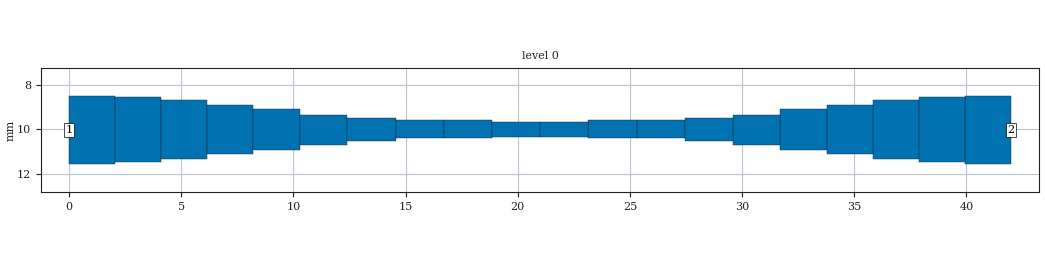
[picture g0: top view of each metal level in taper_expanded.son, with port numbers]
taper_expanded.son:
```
FTYP SONPROJ 19 ! Sonnet Project File
VER 18.53
HEADER
LIC SL68ddf9c7
DAT 12/16/2025 23:11:17
BUILT_BY_CREATED xgeom 18.53-Lite 11/30/2025 18:08:39
BUILT_BY_SAVED sonnet 18.53-Lite
MDATE 12/16/2025 00:15:25
HDATE 12/16/2025 00:15:25
END HEADER
DIM
ANG DEG
CAP PF
CON /OH
FREQ GHZ
IND NH
LNG MM
RES OH
END DIM
CONTROL
VARSWP
OPTIONS  -d
SPEED 0
CACHE_ABS 2
Q_ACC N
END CONTROL
GEO
SYM
TMET "Lossless" 0 SUP 0 0 0 0
BMET "Lossless" 0 SUP 0 0 0 0
BOX 1 42 20 1680 800 20 0
      30 1 1 0 0 0 0 "Substrate"
      1.6 4.4 1 0.02 0 0 0 "FR-4"
TECHLAY METAL Metal1 <UNSPECIFIED> -2 -65534 
1 0 -1 N 440 1 1 100 100 0 0 0 Y
END
END
LORGN 0 20 U 
POR1 BOX
POLY 315 1
3
1 50 0 0 0 -4.440892099e-16 10.025 
POR1 BOX
POLY 421 1
3
2 50 0 0 0 42 10.025 
NUM 20
0 5 -1 N 315 1 1 100 100 0 0 0 Y
-4.440892099e-16 8.5
2.05 8.5
2.05 11.55
-4.440892099e-16 11.55
-4.440892099e-16 8.5
END
0 5 -1 N 316 1 1 100 100 0 0 0 Y
2.05 8.55
4.1 8.55
4.1 11.45
2.05 11.45
2.05 8.55
END
0 5 -1 N 317 1 1 100 100 0 0 0 Y
4.1 8.7
6.15 8.7
6.15 11.3
4.1 11.3
4.1 8.7
END
0 5 -1 N 318 1 1 100 100 0 0 0 Y
6.15 8.9
8.2 8.9
8.2 11.1
6.15 11.1
6.15 8.9
END
0 5 -1 N 319 1 1 100 100 0 0 0 Y
8.2 9.1
10.3 9.1
10.3 10.9
8.2 10.9
8.2 9.1
END
0 5 -1 N 320 1 1 100 100 0 0 0 Y
10.3 9.35
12.4 9.35
12.4 10.7
10.3 10.7
10.3 9.35
END
0 5 -1 N 321 1 1 100 100 0 0 0 Y
12.4 9.5
14.55 9.5
14.55 10.5
12.4 10.5
12.4 9.5
END
0 5 -1 N 322 1 1 100 100 0 0 0 Y
14.55 9.6
16.7 9.6
16.7 10.4
14.55 10.4
14.55 9.6
END
0 5 -1 N 323 1 1 100 100 0 0 0 Y
16.7 9.6
18.85 9.6
18.85 10.4
16.7 10.4
16.7 9.6
END
0 5 -1 N 324 1 1 100 100 0 0 0 Y
18.85 9.65
21 9.65
21 10.35
18.85 10.35
18.85 9.65
END
0 5 -1 N 419 1 1 100 100 0 0 0 Y
33.8 9.1
31.7 9.1
31.7 10.9
33.8 10.9
33.8 9.1
END
0 5 -1 N 420 1 1 100 100 0 0 0 Y
27.45 9.6
25.3 9.6
25.3 10.4
27.45 10.4
27.45 9.6
END
0 5 -1 N 421 1 1 100 100 0 0 0 Y
42 8.5
39.95 8.5
39.95 11.55
42 11.55
42 8.5
END
0 5 -1 N 422 1 1 100 100 0 0 0 Y
31.7 9.35
29.6 9.35
29.6 10.7
31.7 10.7
31.7 9.35
END
0 5 -1 N 423 1 1 100 100 0 0 0 Y
25.3 9.6
23.15 9.6
23.15 10.4
25.3 10.4
25.3 9.6
END
0 5 -1 N 424 1 1 100 100 0 0 0 Y
37.9 8.7
35.85 8.7
35.85 11.3
37.9 11.3
37.9 8.7
END
0 5 -1 N 425 1 1 100 100 0 0 0 Y
39.95 8.55
37.9 8.55
37.9 11.45
39.95 11.45
39.95 8.55
END
0 5 -1 N 426 1 1 100 100 0 0 0 Y
23.15 9.65
21 9.65
21 10.35
23.15 10.35
23.15 9.65
END
0 5 -1 N 427 1 1 100 100 0 0 0 Y
29.6 9.5
27.45 9.5
27.45 10.5
29.6 10.5
29.6 9.5
END
0 5 -1 N 428 1 1 100 100 0 0 0 Y
35.85 8.9
33.8 8.9
33.8 11.1
35.85 11.1
35.85 8.9
END
END GEO
OPT
MAX 100
END OPT
VARSWP
ENABLED Y
FREQ Y AN SWEEP 0.0 12.0 0.2
END
END VARSWP
```
